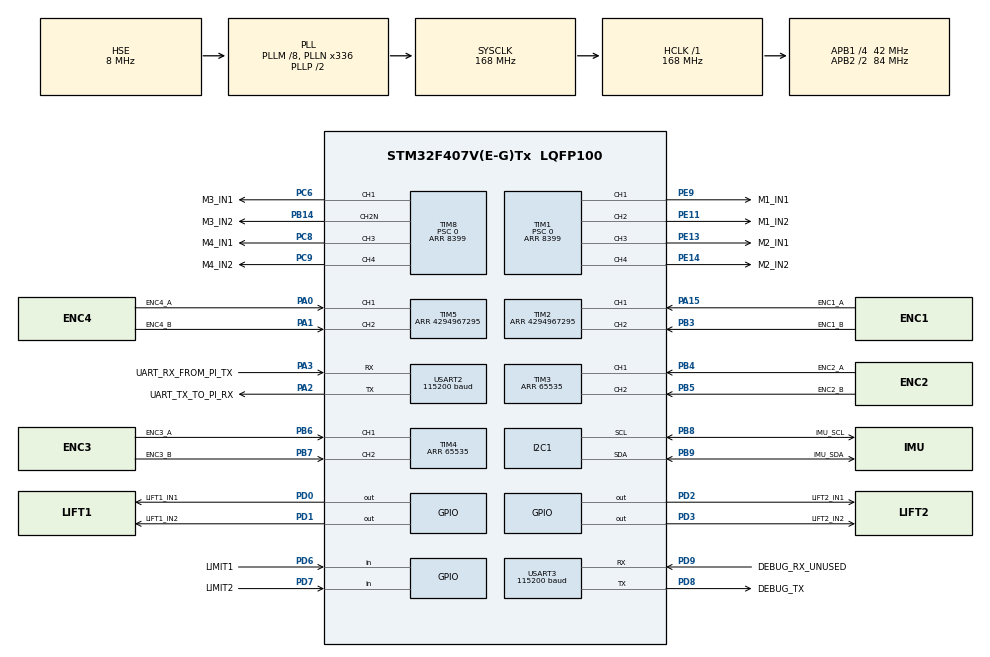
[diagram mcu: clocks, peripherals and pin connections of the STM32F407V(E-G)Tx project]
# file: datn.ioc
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Dma.Request0=USART2_RX
Dma.Request1=USART2_TX
Dma.USART2_RX.0.Direction=DMA_PERIPH_TO_MEMORY
Dma.USART2_RX.0.FIFOMode=DMA_FIFOMODE_DISABLE
Dma.USART2_RX.0.Instance=DMA1_Stream5
Dma.USART2_RX.0.MemDataAlignment=DMA_MDATAALIGN_BYTE
Dma.USART2_RX.0.MemInc=DMA_MINC_ENABLE
Dma.USART2_RX.0.Mode=DMA_CIRCULAR
Dma.USART2_RX.0.PeriphDataAlignment=DMA_PDATAALIGN_BYTE
Dma.USART2_RX.0.PeriphInc=DMA_PINC_DISABLE
Dma.USART2_RX.0.Priority=DMA_PRIORITY_LOW
Dma.USART2_TX.1.Direction=DMA_MEMORY_TO_PERIPH
Dma.USART2_TX.1.FIFOMode=DMA_FIFOMODE_DISABLE
Dma.USART2_TX.1.Instance=DMA1_Stream6
Dma.USART2_TX.1.MemDataAlignment=DMA_MDATAALIGN_BYTE
Dma.USART2_TX.1.MemInc=DMA_MINC_ENABLE
Dma.USART2_TX.1.Mode=DMA_NORMAL
Dma.USART2_TX.1.PeriphDataAlignment=DMA_PDATAALIGN_BYTE
Dma.USART2_TX.1.PeriphInc=DMA_PINC_DISABLE
Dma.USART2_TX.1.Priority=DMA_PRIORITY_LOW
I2C1.I2C_Mode=I2C_Fast
Mcu.Family=STM32F4
Mcu.Name=STM32F407V(E-G)Tx
Mcu.Package=LQFP100
NVIC.DMA1_Stream5_IRQn=true\:0\:0\:false\:false\:true\:false\:true\:true
NVIC.DMA1_Stream6_IRQn=true\:0\:0\:false\:false\:true\:false\:true\:true
NVIC.PriorityGroup=NVIC_PRIORITYGROUP_4
NVIC.TIM6_DAC_IRQn=true\:0\:0\:false\:false\:true\:true\:true\:true
NVIC.USART2_IRQn=true\:0\:0\:false\:false\:true\:true\:true\:true
PA0-WKUP.GPIO_Label=ENC4_A
PA0-WKUP.GPIO_PuPd=GPIO_PULLUP
PA0-WKUP.Signal=S_TIM5_CH1
PA1.GPIO_Label=ENC4_B
PA1.GPIO_PuPd=GPIO_PULLUP
PA1.Signal=S_TIM5_CH2
PA13.Mode=Serial_Wire
PA13.Signal=SYS_JTMS-SWDIO
PA14.Mode=Serial_Wire
PA14.Signal=SYS_JTCK-SWCLK
PA15.GPIO_Label=ENC1_A
PA15.GPIO_PuPd=GPIO_PULLUP
PA15.Signal=S_TIM2_CH1_ETR
PA2.GPIO_Label=UART_TX_TO_PI_RX
PA2.Mode=Asynchronous
PA2.Signal=USART2_TX
PA3.GPIO_Label=UART_RX_FROM_PI_TX
PA3.Mode=Asynchronous
PA3.Signal=USART2_RX
PB14.GPIO_Label=M3_IN2
PB14.Mode=PWM Generation2 CH2N
PB14.Signal=TIM8_CH2N
PB3.GPIO_Label=ENC1_B
PB3.GPIO_PuPd=GPIO_PULLUP
PB3.Signal=S_TIM2_CH2
PB4.GPIO_Label=ENC2_A
PB4.GPIO_PuPd=GPIO_PULLUP
PB4.Signal=S_TIM3_CH1
PB5.GPIO_Label=ENC2_B
PB5.GPIO_PuPd=GPIO_PULLUP
PB5.Signal=S_TIM3_CH2
PB6.GPIO_Label=ENC3_A
PB6.GPIO_PuPd=GPIO_PULLUP
PB6.Signal=S_TIM4_CH1
PB7.GPIO_Label=ENC3_B
PB7.GPIO_PuPd=GPIO_PULLUP
PB7.Signal=S_TIM4_CH2
PB8.GPIO_Label=IMU_SCL
PB8.GPIO_PuPd=GPIO_PULLUP
PB8.Mode=I2C
PB8.Signal=I2C1_SCL
PB9.GPIO_Label=IMU_SDA
PB9.GPIO_PuPd=GPIO_PULLUP
PB9.Mode=I2C
PB9.Signal=I2C1_SDA
PC6.GPIO_Label=M3_IN1
PC6.Signal=S_TIM8_CH1
PC8.GPIO_Label=M4_IN1
PC8.Signal=S_TIM8_CH3
PC9.GPIO_Label=M4_IN2
PC9.Signal=S_TIM8_CH4
PD0.GPIO_Label=LIFT1_IN1
PD0.Signal=GPIO_Output
PD1.GPIO_Label=LIFT1_IN2
PD1.Signal=GPIO_Output
PD2.GPIO_Label=LIFT2_IN1
PD2.Signal=GPIO_Output
PD3.GPIO_Label=LIFT2_IN2
PD3.Signal=GPIO_Output
PD6.GPIO_Label=LIMIT1
PD6.GPIO_PuPd=GPIO_PULLUP
PD6.Signal=GPIO_Input
PD7.GPIO_Label=LIMIT2
PD7.GPIO_PuPd=GPIO_PULLUP
PD7.Signal=GPIO_Input
PD8.GPIO_Label=DEBUG_TX
PD8.Mode=Asynchronous
PD8.Signal=USART3_TX
PD9.GPIO_Label=DEBUG_RX_UNUSED
PD9.Mode=Asynchronous
PD9.Signal=USART3_RX
PE11.GPIO_Label=M1_IN2
PE11.Signal=S_TIM1_CH2
PE13.GPIO_Label=M2_IN1
PE13.Signal=S_TIM1_CH3
PE14.GPIO_Label=M2_IN2
PE14.Signal=S_TIM1_CH4
PE9.GPIO_Label=M1_IN1
PE9.Signal=S_TIM1_CH1
PH0-OSC_IN.Mode=HSE-External-Oscillator
PH0-OSC_IN.Signal=RCC_OSC_IN
PH1-OSC_OUT.Mode=HSE-External-Oscillator
PH1-OSC_OUT.Signal=RCC_OSC_OUT
ProjectManager.HeapSize=0x200
ProjectManager.StackSize=0x400
ProjectManager.TargetToolchain=STM32CubeIDE
RCC.48MHZClocksFreq_Value=48000000
RCC.AHBFreq_Value=168000000
RCC.APB1CLKDivider=RCC_HCLK_DIV4
RCC.APB1Freq_Value=42000000
RCC.APB1TimFreq_Value=84000000
RCC.APB2CLKDivider=RCC_HCLK_DIV2
RCC.APB2Freq_Value=84000000
RCC.APB2TimFreq_Value=168000000
RCC.CortexFreq_Value=168000000
RCC.HCLKFreq_Value=168000000
RCC.HSE_VALUE=8000000
RCC.HSI_VALUE=16000000
RCC.LSE_VALUE=32768
RCC.PLLM=8
RCC.PLLN=336
RCC.PLLQ=7
RCC.PLLSourceVirtual=RCC_PLLSOURCE_HSE
RCC.SYSCLKFreq_VALUE=168000000
RCC.SYSCLKSource=RCC_SYSCLKSOURCE_PLLCLK
RCC.VCOOutputFreq_Value=336000000
SH.S_TIM1_CH1.0=TIM1_CH1,PWM Generation1 CH1
SH.S_TIM1_CH2.0=TIM1_CH2,PWM Generation2 CH2
SH.S_TIM1_CH3.0=TIM1_CH3,PWM Generation3 CH3
SH.S_TIM1_CH4.0=TIM1_CH4,PWM Generation4 CH4
SH.S_TIM2_CH1_ETR.0=TIM2_CH1,Encoder_Interface
SH.S_TIM2_CH2.0=TIM2_CH2,Encoder_Interface
SH.S_TIM3_CH1.0=TIM3_CH1,Encoder_Interface
SH.S_TIM3_CH2.0=TIM3_CH2,Encoder_Interface
SH.S_TIM4_CH1.0=TIM4_CH1,Encoder_Interface
SH.S_TIM4_CH2.0=TIM4_CH2,Encoder_Interface
SH.S_TIM5_CH1.0=TIM5_CH1,Encoder_Interface
SH.S_TIM5_CH2.0=TIM5_CH2,Encoder_Interface
SH.S_TIM8_CH1.0=TIM8_CH1,PWM Generation1 CH1
SH.S_TIM8_CH3.0=TIM8_CH3,PWM Generation3 CH3
SH.S_TIM8_CH4.0=TIM8_CH4,PWM Generation4 CH4
TIM1.Channel-PWM\ Generation1\ CH1=TIM_CHANNEL_1
TIM1.Channel-PWM\ Generation2\ CH2=TIM_CHANNEL_2
TIM1.Channel-PWM\ Generation3\ CH3=TIM_CHANNEL_3
TIM1.Channel-PWM\ Generation4\ CH4=TIM_CHANNEL_4
TIM1.Period=8399
TIM1.Prescaler=0
TIM2.EncoderMode=TIM_ENCODERMODE_TI12
TIM2.IC1Filter=8
TIM2.IC2Filter=8
TIM2.Period=4294967295
TIM3.EncoderMode=TIM_ENCODERMODE_TI12
TIM3.IC1Filter=8
TIM3.IC2Filter=8
TIM3.Period=65535
TIM4.EncoderMode=TIM_ENCODERMODE_TI12
TIM4.IC1Filter=8
TIM4.IC2Filter=8
TIM4.Period=65535
TIM5.EncoderMode=TIM_ENCODERMODE_TI12
TIM5.IC1Filter=8
TIM5.IC2Filter=8
TIM5.Period=4294967295
TIM6.Period=999
TIM6.Prescaler=83
TIM8.Channel-PWM\ Generation1\ CH1=TIM_CHANNEL_1
TIM8.Channel-PWM\ Generation2\ CH2N=TIM_CHANNEL_2
TIM8.Channel-PWM\ Generation3\ CH3=TIM_CHANNEL_3
TIM8.Channel-PWM\ Generation4\ CH4=TIM_CHANNEL_4
TIM8.Period=8399
TIM8.Prescaler=0
USART2.BaudRate=115200
USART2.VirtualMode=VM_ASYNC
USART3.BaudRate=115200
USART3.Mode=MODE_TX
USART3.VirtualMode=VM_ASYNC
VP_TIM1_VS_ClockSourceINT.Mode=Internal
VP_TIM6_VS_ClockSourceINT.Mode=Enable_Timer
VP_TIM8_VS_ClockSourceINT.Mode=Internal
board=custom

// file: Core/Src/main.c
/* USER CODE BEGIN Header */
/**
  ******************************************************************************
  * @file           : main.c
  * @brief          : Main program body
  ******************************************************************************
  * @attention
  *
  * Copyright (c) 2026 STMicroelectronics.
  * All rights reserved.
  *
  * This software is licensed under terms that can be found in the LICENSE file
  * in the root directory of this software component.
  * If no LICENSE file comes with this software, it is provided AS-IS.
  *
  ******************************************************************************
  */
/* USER CODE END Header */
#include "main.h"
#include "dma.h"
#include "i2c.h"
#include "tim.h"
#include "usart.h"
#include "gpio.h"

/* USER CODE BEGIN Includes */
#include <stdio.h>
#include <math.h>
/* USER CODE END Includes */

/* USER CODE BEGIN PTD */
/* Mot motor = 1 timer PWM + 2 kenh (IN1, IN2 cua DRV8871) */
typedef struct
{
  TIM_HandleTypeDef *htim;
  uint32_t ch_in1;
  uint32_t ch_in2;
} Motor_t;
/* USER CODE END PTD */

/* USER CODE BEGIN PD */
#define MOTOR_COUNT        4U
#define TEST_DUTY_PERCENT  100U    /* duty khi test */
#define TEST_DRIVE         1       /* 1: lap tren xe, ca xe chay toi / lui (uu tien hon TEST_STREAM) */
#define WHEEL_DIAMETER_MM  80.0f   /* duong kinh banh xe (mm) - DO LAI cho dung banh that */
#define DRIVE_SPEED_MPM    3.0f    /* toc do toi da khi chay (m/phut); 1 m/phut qua cham, banh giat */
#define DRIVE_MOVE_MM      200.0f  /* chay toi quang nay, nghi, roi lui lai dung quang nay (mm) */
#define DRIVE_ACCEL_S      1.0f    /* thoi gian tang toc 0 -> DRIVE_SPEED_MPM (s), giam toc cung vay */
#define DRIVE_PAUSE_MS     1500U   /* nghi giua luot toi va luot lui */
#define SPEED_DT_MS        10U     /* chu ky vong PI toc do */
#define SPEED_KP           1.0f    /* duty / (count/s) */
#define SPEED_KI           10.0f   /* duty / count */
#define POS_KP             4.0f    /* bam vi tri: (count/s) bu them / count sai lech */
#define POS_CORR_MAX       0.5f    /* toc do bu toi da = POS_CORR_MAX * toc do toi da */
#define POS_TOL_MM         2.0f    /* sai so vi tri chap nhan khi dung (mm) */
#define DRIVE_START_MS     3000U   /* cho sau khi reset de dat xe xuong */
#define FRICTION_TEST      0       /* 1: KE XE LEN, do duty toi thieu de moi banh bat dau quay / con quay */
#define HEADING_HOLD       0       /* 1: dung gyro Z cua MPU6050 giu xe di thang khi chay DRIVE_MOVE_MM */
#define IMU_ADDR           (0x68U << 1) /* AD0 = GND; AD0 = 3V3 thi 0x69 */
#define IMU_YAW_SIGN       1       /* +1: module nam ngua (chip quay len) -> xe quay trai (CCW) yaw tang; up nguoc thi -1 */
#define IMU_PERIOD_MS      5U      /* doc gyro 200 Hz */
#define IMU_CALIB_MS       1000U   /* thoi gian xe dung yen de do bias gyro */
#define TRACK_MM           200.0f  /* khoang cach tam banh trai - phai (mm) - DO LAI tren xe */
#define WHEELBASE_MM       200.0f  /* khoang cach tam banh truoc - sau (mm) - DO LAI tren xe */
#define HEAD_GAIN          1.5f    /* 1.0 = bu dung bang hinh hoc, tang neu san tron xe van lech */
#define HEAD_OFF_MAX_MM    20.0f   /* do lech quang duong trai/phai toi da khi bu huong */
#define WHEEL_CHECK        0       /* 1: KE XE LEN, quay tung banh M1..M4 theo chieu "tien" de kiem tra wheel_dir */
#define TEST_STREAM        1       /* 1: chay cac motor trong STREAM_MASK, gui CSV de ve do thi tren PC (tools/enc_plot.py) */
#define STREAM_MASK        0xFU    /* motor chay cung luc o che do stream: bit0=M1, bit1=M2, bit2=M3, bit3=M4 */
#define STREAM_RUN_MS      5000U   /* thoi gian chay moi chieu o che do stream */
#define TEST_CONTINUOUS    1       /* 1: ca 4 motor chay toi lien tuc de do dien ap, 0: test tung motor */
#define TEST_RUN_MS        2000U   /* thoi gian chay moi chieu */
#define TEST_PAUSE_MS      500U    /* nghi giua 2 chieu de motor dung han */
#if TEST_STREAM
#define PRINT_PERIOD_MS    20U     /* stream CSV 50 Hz */
#else
#define PRINT_PERIOD_MS    200U    /* chu ky in ra USART3 */
#endif
/* USER CODE END PD */

/* USER CODE BEGIN PV */
/* Bang anh xa motor -> timer/kenh, dung thu tu trong bang di day */
static const Motor_t motors[MOTOR_COUNT] =
{
  { &htim1, TIM_CHANNEL_1, TIM_CHANNEL_2 },  /* M1: PE9 / PE11  */
  { &htim1, TIM_CHANNEL_3, TIM_CHANNEL_4 },  /* M2: PE13 / PE14 */
  { &htim8, TIM_CHANNEL_1, TIM_CHANNEL_2 },  /* M3: PC6 / PB14 (CH2N, van dung thanh ghi CCR2) */
  { &htim8, TIM_CHANNEL_3, TIM_CHANNEL_4 },  /* M4: PC8 / PC9   */
};

/* Encoder i dung timer enc_tim[i]: ENC1=TIM2, ENC2=TIM3, ENC3=TIM4, ENC4=TIM5 */
static TIM_HandleTypeDef *const enc_tim[MOTOR_COUNT] = { &htim2, &htim3, &htim4, &htim5 };
static uint32_t enc_last[MOTOR_COUNT];   /* gia tri CNT lan doc truoc */
/* Dau dem cua tung encoder: -1 neu chay toi ma count giam (ENC2 dau day A/B nguoc) */
static const int8_t enc_sign[MOTOR_COUNT] = { 1, -1, 1, 1 };
/* Chieu lap banh tren xe (M1 truoc-trai, M2 sau-trai, M3 sau-phai, M4 truoc-phai):
 * +1 neu motor chay toi lam xe tien, -1 neu nguoc. Kiem tra bang WHEEL_CHECK (day motor moi banh noi khac nhau) */
static const int8_t wheel_dir[MOTOR_COUNT] = { 1, -1, 1, -1 };

/* Bien toan cuc de xem bang Live Expressions */
volatile int32_t enc_count[MOTOR_COUNT]; /* tong count tich luy (co dau) */
volatile int32_t enc_delta[MOTOR_COUNT]; /* so count trong 1 ms gan nhat */
volatile uint8_t test_motor;             /* motor dang test: 1..4, 0 = khong (che do stream: STREAM_MASK) */
volatile int8_t  test_dir;               /* +1 toi, -1 lui, 0 dung */
static uint32_t next_print;              /* tick lan in tiep theo */
#if TEST_DRIVE
volatile float drive_target_cps;         /* toc do dat cho ca xe (count/s), duong = tien */
volatile float wheel_cps[MOTOR_COUNT];   /* toc do do duoc tung banh (count/s) */
volatile uint8_t drive_brake;            /* 1: phanh ca 4 banh (IN1 = IN2 = 1) */
volatile uint8_t drive_mask = 0xFU;      /* banh nao duoc dieu khien: bit0=M1 .. bit3=M4, banh ngoai mask tha troi */
/* Bam vi tri: ca 4 banh bam cung mot quang duong dat drive_ref_pos (count, tinh tu
 * drive_pos0). Banh nao bi hut (ket, chiu tai nang) se duoc day nhanh de duoi kip. */
volatile uint8_t drive_pos_mode;         /* 1: bat vong vi tri */
volatile uint8_t drive_manual;           /* 1: tat vong PI, main tu dat duty (do ma sat) */
volatile int16_t fric_result[MOTOR_COUNT][2][2]; /* [banh][0 tien,1 lui][0 khoi dong,1 duy tri], 0.1 %; -1 = khong quay */
volatile uint8_t fric_done;              /* 1: do xong */
volatile float drive_ref_pos;            /* quang duong dat (count) */
volatile float drive_corr_max;           /* toc do bu toi da (count/s) */
static int32_t drive_pos0[MOTOR_COUNT];  /* enc_count luc bat dau chay */
/* Bu huong: banh trai (M1, M2) bam ref + drive_head_off, banh phai (M3, M4) bam ref - drive_head_off */
volatile float drive_head_off;           /* count */
#endif
/* MPU6050 */
volatile uint8_t imu_ok;                 /* 1: doc duoc MPU6050 */
volatile uint8_t imu_whoami;             /* thanh ghi WHO_AM_I (MPU6050 that = 0x68) */
volatile uint32_t imu_err;               /* so lan doc I2C loi */
volatile float imu_bias;                 /* bias gyro Z (do/s, chua nhan IMU_YAW_SIGN) */
volatile float imu_rate;                 /* toc do quay quanh Z (do/s), duong = quay trai */
volatile float imu_yaw;                  /* goc yaw tich phan (do), 0 = huong luc xuat phat */
static uint32_t imu_last;                /* tick lan doc truoc */
/* USER CODE END PV */

void SystemClock_Config(void);
/* USER CODE BEGIN PFP */
static void Motor_Set(uint8_t m, int32_t duty);
static void Encoder_Update(void);
static void Print_Status(void);
static void Wait_And_Print(uint32_t ms);
#if TEST_DRIVE
static void Drive_Move(float move_mm);
#endif
static uint8_t IMU_Init(void);
static void IMU_Calibrate(uint32_t ms);
static void IMU_Update(void);
/* USER CODE END PFP */

/* USER CODE BEGIN 0 */
/**
  * Dat toc do motor m (0..3).
  * duty > 0: chay toi  -> PWM tren IN1, IN2 = 0
  * duty < 0: chay lui  -> IN1 = 0, PWM tren IN2
  * duty = 0: ca hai = 0 -> DRV8871 o che do tha troi (coast)
  * |duty| toi da = ARR (8399) tuong ung 100 %.
  */
static void Motor_Set(uint8_t m, int32_t duty)
{
  const Motor_t *mt = &motors[m];
  int32_t arr = (int32_t)__HAL_TIM_GET_AUTORELOAD(mt->htim);

  if (duty > arr)  duty = arr;
  if (duty < -arr) duty = -arr;

  if (duty >= 0)
  {
    __HAL_TIM_SET_COMPARE(mt->htim, mt->ch_in1, (uint32_t)duty);
    __HAL_TIM_SET_COMPARE(mt->htim, mt->ch_in2, 0U);
  }
  else
  {
    __HAL_TIM_SET_COMPARE(mt->htim, mt->ch_in1, 0U);
    __HAL_TIM_SET_COMPARE(mt->htim, mt->ch_in2, (uint32_t)(-duty));
  }
}

/**
  * Doc 4 bo dem encoder, tinh so count thay doi tu lan truoc va cong don.
  * Goi trong ngat TIM6 (1 kHz). Phep tru so khong dau roi ep ve so co dau
  * cho ket qua dung ca khi bo dem tran (65535 -> 0 hoac 0 -> 65535).
  */
static void Encoder_Update(void)
{
  for (uint8_t i = 0; i < MOTOR_COUNT; i++)
  {
    uint32_t now = __HAL_TIM_GET_COUNTER(enc_tim[i]);
    int32_t d;

    if (IS_TIM_32B_COUNTER_INSTANCE(enc_tim[i]->Instance))
      d = (int32_t)(now - enc_last[i]);              /* TIM2, TIM5: 32-bit */
    else
      d = (int16_t)(uint16_t)(now - enc_last[i]);    /* TIM3, TIM4: 16-bit */

    d *= enc_sign[i];
#if TEST_DRIVE
    d *= wheel_dir[i];                 /* count duong = xe tien */
#endif

    enc_last[i]  = now;
    enc_delta[i] = d;
    enc_count[i] += d;
  }
}

#if TEST_DRIVE
/**
  * Vong PI toc do cho 4 banh, goi trong ngat TIM6 moi SPEED_DT_MS.
  * Vong ho khong chay cham duoc vi motor can ~10-15 % duty moi thang ma sat,
  * nen dung PI theo encoder. Muc tieu = 0 -> tha troi va xoa tich phan.
  */
static void Speed_Control(void)
{
  static int32_t last[MOTOR_COUNT];
  static float integ[MOTOR_COUNT];
  const float dt = SPEED_DT_MS / 1000.0f;
  const float arr = (float)__HAL_TIM_GET_AUTORELOAD(&htim1);
  const float target = drive_target_cps;
  const uint8_t pos_mode = drive_pos_mode;
  const float ref = drive_ref_pos;

  for (uint8_t m = 0; m < MOTOR_COUNT; m++)
  {
    int32_t now = enc_count[m];
    float meas = (float)(now - last[m]) / dt;
    float tgt = target;
    float err;
    float u;

    last[m] = now;
    wheel_cps[m] = meas;

    if (drive_brake)
    {
      /* DRV8871: IN1 = IN2 = 1 -> ngan mach 2 dau motor, dung nhanh hon tha troi */
      integ[m] = 0.0f;
      __HAL_TIM_SET_COMPARE(motors[m].htim, motors[m].ch_in1, (uint32_t)arr + 1U);
      __HAL_TIM_SET_COMPARE(motors[m].htim, motors[m].ch_in2, (uint32_t)arr + 1U);
      continue;
    }
    if ((!pos_mode && target == 0.0f) || !(drive_mask & (1U << m)))
    {
      integ[m] = 0.0f;
      Motor_Set(m, 0);
      continue;
    }

    if (pos_mode)
    {
      float off = (m < 2U) ? drive_head_off : -drive_head_off;   /* M1, M2 ben trai */
      float c = POS_KP * (ref + off - (float)(now - drive_pos0[m]));
      if (c >  drive_corr_max) c =  drive_corr_max;
      if (c < -drive_corr_max) c = -drive_corr_max;
      tgt += c;
    }
    err = tgt - meas;

    integ[m] += SPEED_KI * err * dt;
    if (integ[m] >  arr) integ[m] =  arr;
    if (integ[m] < -arr) integ[m] = -arr;

    u = SPEED_KP * err + integ[m];
    Motor_Set(m, wheel_dir[m] * (int32_t)u);
  }
}
#endif

/* ---------------- MPU6050 (I2C1: PB8 = SCL, PB9 = SDA) ---------------- */
#define MPU_SMPLRT_DIV   0x19U
#define MPU_CONFIG       0x1AU
#define MPU_GYRO_CONFIG  0x1BU
#define MPU_GYRO_ZOUT_H  0x47U
#define MPU_PWR_MGMT_1   0x6BU
#define MPU_WHO_AM_I     0x75U
#define MPU_GYRO_LSB     65.5f     /* LSB / (do/s) o thang +-500 do/s */

static HAL_StatusTypeDef IMU_Write(uint8_t reg, uint8_t val)
{
  return HAL_I2C_Mem_Write(&hi2c1, IMU_ADDR, reg, I2C_MEMADD_SIZE_8BIT, &val, 1U, 5U);
}

/* Doc gyro Z tho (do/s, chua tru bias). Tra ve 0 neu loi I2C. */
static uint8_t IMU_ReadGz(float *dps)
{
  uint8_t b[2];

  if (HAL_I2C_Mem_Read(&hi2c1, IMU_ADDR, MPU_GYRO_ZOUT_H, I2C_MEMADD_SIZE_8BIT, b, 2U, 2U) != HAL_OK)
  {
    imu_err++;
    return 0U;
  }
  *dps = (float)(int16_t)((b[0] << 8) | b[1]) / MPU_GYRO_LSB;
  return 1U;
}

/* Kiem tra WHO_AM_I roi cau hinh: clock PLL gyro, loc 44 Hz, 200 Hz, +-500 do/s */
static uint8_t IMU_Init(void)
{
  uint8_t id = 0;

  if (HAL_I2C_Mem_Read(&hi2c1, IMU_ADDR, MPU_WHO_AM_I, I2C_MEMADD_SIZE_8BIT, &id, 1U, 10U) != HAL_OK)
    return 0U;
  imu_whoami = id;
  if (IMU_Write(MPU_PWR_MGMT_1, 0x80U) != HAL_OK) return 0U;   /* reset chip */
  HAL_Delay(100);
  if (IMU_Write(MPU_PWR_MGMT_1, 0x01U) != HAL_OK) return 0U;   /* thoat sleep, clock = PLL gyro X */
  if (IMU_Write(MPU_CONFIG, 0x03U) != HAL_OK) return 0U;       /* DLPF 44 Hz */
  if (IMU_Write(MPU_SMPLRT_DIV, 0x04U) != HAL_OK) return 0U;   /* 1 kHz / (1 + 4) = 200 Hz */
  if (IMU_Write(MPU_GYRO_CONFIG, 0x08U) != HAL_OK) return 0U;  /* +-500 do/s */
  HAL_Delay(50);
  return 1U;
}

/* Xe PHAI DUNG YEN: lay trung binh gyro Z lam bias, dat yaw = 0 */
static void IMU_Calibrate(uint32_t ms)
{
  uint32_t t0 = HAL_GetTick();
  float sum = 0.0f, g;
  uint32_t n = 0;

  if (!imu_ok) return;
  while ((HAL_GetTick() - t0) < ms)
  {
    if (IMU_ReadGz(&g)) { sum += g; n++; }
    HAL_Delay(IMU_PERIOD_MS);
  }
  if (n > 0U) imu_bias = sum / (float)n;
  imu_yaw = 0.0f;
  imu_last = HAL_GetTick();
}

/* Goi lien tuc trong vong cho: moi IMU_PERIOD_MS doc gyro, tich phan yaw va
 * tinh do lech quang duong trai/phai de keo xe ve huong ban dau. */
static void IMU_Update(void)
{
  uint32_t now = HAL_GetTick();
  float g;

  if (!imu_ok || (now - imu_last) < IMU_PERIOD_MS) return;
  if (!IMU_ReadGz(&g))
  {
    /* Bus I2C treo (nhieu tu motor): khoi dong lai I2C1 */
    if ((imu_err & 0x0FU) == 0U)
    {
      HAL_I2C_DeInit(&hi2c1);
      HAL_I2C_Init(&hi2c1);
    }
    return;
  }
  imu_rate = IMU_YAW_SIGN * (g - imu_bias);
  imu_yaw += imu_rate * (float)(now - imu_last) / 1000.0f;
  imu_last = now;

#if TEST_DRIVE && HEADING_HOLD
  {
    /* Xe lech trai (yaw > 0) -> banh trai di truoc banh phai mot doan
     * yaw * (TRACK + WHEELBASE) / 2 (dong hoc mecanum) de quay ve */
    const float cnt_per_mm = ENC_CPR / (3.14159f * WHEEL_DIAMETER_MM);
    float off = HEAD_GAIN * imu_yaw * (3.14159f / 180.0f) * (TRACK_MM + WHEELBASE_MM) * 0.5f;

    if (off >  HEAD_OFF_MAX_MM) off =  HEAD_OFF_MAX_MM;
    if (off < -HEAD_OFF_MAX_MM) off = -HEAD_OFF_MAX_MM;
    drive_head_off = drive_pos_mode ? off * cnt_per_mm : 0.0f;
  }
#endif
}

/* In mot dong trang thai ra USART3 (PD8) */
static void Print_Status(void)
{
#if TEST_STREAM
  /* Chup 4 count cung 1 thoi diem (khong bi ngat TIM6 chen giua) */
  int32_t c[MOTOR_COUNT];
  uint32_t t;

  __disable_irq();
  t = HAL_GetTick();
  for (uint8_t i = 0; i < MOTOR_COUNT; i++) c[i] = enc_count[i];
  __enable_irq();

  /* Dong du lieu: D,t_ms,motor,dir,E1,E2,E3,E4 */
  printf("D,%lu,%u,%d,%ld,%ld,%ld,%ld\r\n",
         (unsigned long)t, test_motor, test_dir,
         (long)c[0], (long)c[1], (long)c[2], (long)c[3]);
  {
    /* Dong goc: Y,t_ms,yaw(0.1 do),toc_do_quay(0.1 do/s), 10 Hz */
    static uint8_t k;
    if (imu_ok && ++k >= 5U)
    {
      k = 0;
      printf("Y,%lu,%ld,%ld\r\n", (unsigned long)t,
             (long)(imu_yaw * 10.0f), (long)(imu_rate * 10.0f));
    }
  }
#else
  printf("M%u dir=%+d | E1=%ld E2=%ld E3=%ld E4=%ld\r\n",
         test_motor, test_dir,
         (long)enc_count[0], (long)enc_count[1],
         (long)enc_count[2], (long)enc_count[3]);
#endif
}

/* Cho ms mili-giay, trong luc cho thi in trang thai moi PRINT_PERIOD_MS.
 * next_print giu nguyen giua cac lan goi nen nhip in deu ca khi goi Wait ngan. */
static void Wait_And_Print(uint32_t ms)
{
  uint32_t start = HAL_GetTick();

  while ((HAL_GetTick() - start) < ms)
  {
    IMU_Update();
    if ((int32_t)(HAL_GetTick() - next_print) >= 0)
    {
      next_print += PRINT_PERIOD_MS;
      Print_Status();
    }
  }
}
#if TEST_DRIVE
/**
  * Chay move_mm (am = lui) roi phanh va dung han.
  * Tao quang duong dat drive_ref_pos theo bien dang hinh thang (tang toc
  * DRIVE_ACCEL_S, giam toc v = sqrt(2 a quang_con_lai)); ca 4 banh bam theo
  * no trong Speed_Control nen di cung mot quang duong.
  */
static void Drive_Move(float move_mm)
{
  /* mm -> count, m/phut -> count/s */
  const float cnt_per_mm = ENC_CPR / (3.14159f * WHEEL_DIAMETER_MM);
  const float vmax = DRIVE_SPEED_MPM * 1000.0f / 60.0f * cnt_per_mm;
  const float acc  = vmax / DRIVE_ACCEL_S;
  const float vmin = 0.2f * vmax;          /* duoi muc nay banh de ket */
  const float goal = fabsf(move_mm) * cnt_per_mm;
  const float sgn  = (move_mm >= 0.0f) ? 1.0f : -1.0f;
  const float tol  = POS_TOL_MM * cnt_per_mm;
  float pos = 0.0f;
  float v = 0.0f;
  uint32_t t0;

  __disable_irq();
  for (uint8_t m = 0; m < MOTOR_COUNT; m++) drive_pos0[m] = enc_count[m];
  drive_ref_pos = 0.0f;
  drive_corr_max = POS_CORR_MAX * vmax;
  drive_pos_mode = 1U;
  __enable_irq();

  test_dir = (int8_t)sgn;
  while (pos < goal)
  {
    float vstop = sqrtf(2.0f * acc * (goal - pos));

    v += acc * 0.01f;
    if (v > vmax)  v = vmax;
    if (v > vstop) v = vstop;
    if (v < vmin)  v = vmin;

    pos += v * 0.01f;
    if (pos > goal) pos = goal;
    drive_ref_pos = sgn * pos;
    drive_target_cps = sgn * v;
    Wait_And_Print(10U);
  }
  drive_target_cps = 0.0f;

  /* Cho cac banh tre ve dung vi tri (toi da 1 s) roi phanh */
  t0 = HAL_GetTick();
  while ((HAL_GetTick() - t0) < 1000U)
  {
    uint8_t ok = 1U;
    for (uint8_t m = 0; m < MOTOR_COUNT; m++)
    {
      float off = (m < 2U) ? drive_head_off : -drive_head_off;
      if (fabsf(sgn * goal + off - (float)(enc_count[m] - drive_pos0[m])) > tol) ok = 0U;
    }
    if (ok) break;
    Wait_And_Print(10U);
  }
  drive_pos_mode = 0U;
  drive_brake = 1U;
  Wait_And_Print(500U);
  drive_brake = 0U;                        /* het phanh -> tha troi, khong ton dien */
  test_dir = 0;
}
#endif
/* USER CODE END 0 */

int main(void)
{

  /* MCU Configuration--------------------------------------------------------*/

  /* Reset of all peripherals, Initializes the Flash interface and the Systick. */
  HAL_Init();

  /* Configure the system clock */
  SystemClock_Config();

  /* Initialize all configured peripherals */
  MX_GPIO_Init();
  MX_DMA_Init();
  MX_TIM1_Init();
  MX_TIM2_Init();
  MX_TIM3_Init();
  MX_TIM4_Init();
  MX_TIM5_Init();
  MX_TIM6_Init();
  MX_TIM8_Init();
  MX_USART2_UART_Init();
  MX_USART3_UART_Init();
  MX_I2C1_Init();
  /* USER CODE BEGIN 2 */
  /* Tat bo dem cua printf: moi lan printf gui ngay ra UART */
  setvbuf(stdout, NULL, _IONBF, 0);

  /* --- PWM: 8 kenh, duty ban dau = 0 (Pulse = 0 trong MX_TIMx_Init) --- */
  HAL_TIM_PWM_Start(&htim1, TIM_CHANNEL_1);
  HAL_TIM_PWM_Start(&htim1, TIM_CHANNEL_2);
  HAL_TIM_PWM_Start(&htim1, TIM_CHANNEL_3);
  HAL_TIM_PWM_Start(&htim1, TIM_CHANNEL_4);
  HAL_TIM_PWM_Start(&htim8, TIM_CHANNEL_1);
  HAL_TIMEx_PWMN_Start(&htim8, TIM_CHANNEL_2);  /* M3_IN2 o PB14 la kenh bu CH2N */
  HAL_TIM_PWM_Start(&htim8, TIM_CHANNEL_3);
  HAL_TIM_PWM_Start(&htim8, TIM_CHANNEL_4);

  /* --- Encoder: dem ca 2 kenh A/B, x4 --- */
  HAL_TIM_Encoder_Start(&htim2, TIM_CHANNEL_ALL);
  HAL_TIM_Encoder_Start(&htim3, TIM_CHANNEL_ALL);
  HAL_TIM_Encoder_Start(&htim4, TIM_CHANNEL_ALL);
  /* LUU Y TIM5 / ENC4_A = PA0: chan nay noi voi nut USER B1 tren board.
   * Kiem tra schematic MB997: neu PA0 co tu chong doi thi phai thao tu,
   * neu khong encoder 4 se dem sai. Khong nhan B1 khi dang chay. */
  HAL_TIM_Encoder_Start(&htim5, TIM_CHANNEL_ALL);

  for (uint8_t i = 0; i < MOTOR_COUNT; i++)
  {
    enc_last[i] = __HAL_TIM_GET_COUNTER(enc_tim[i]);
  }

  /* --- TIM6: ngat 1 kHz, goi Encoder_Update() --- */
  HAL_TIM_Base_Start_IT(&htim6);

  printf("\r\n=== DATN test buoc 1: PWM + encoder, ENC_CPR=%d ===\r\n", ENC_CPR);
#if HEADING_HOLD
  imu_ok = IMU_Init();
  printf("MPU6050: %s, WHO_AM_I=0x%02X\r\n", imu_ok ? "OK" : "KHONG THAY (kiem tra day PB8/PB9)", imu_whoami);
  IMU_Calibrate(IMU_CALIB_MS);
#else
  (void)IMU_Init;                          /* giu code MPU6050 cho luc bat lai */
  printf("MPU6050: tat (HEADING_HOLD = 0)\r\n");
#endif
  next_print = HAL_GetTick();
  /* USER CODE END 2 */

  /* Infinite loop */
  while (1)
  {

    /* USER CODE BEGIN 3 */
    const int32_t duty = (int32_t)(__HAL_TIM_GET_AUTORELOAD(&htim1) * TEST_DUTY_PERCENT / 100U);

#if TEST_DRIVE && FRICTION_TEST
    /* Voi tung banh, moi chieu: tang duty 0.5 %/50 ms (vong ho) toi khi banh
     * quay -> duty khoi dong; roi giam dan toi khi banh dung -> duty duy tri.
     * In ket qua dang: F,banh,chieu,khoi_dong_x10,duy_tri_x10 (don vi 0.1 %). */
    {
      static uint8_t done;
      const int32_t arr = (int32_t)__HAL_TIM_GET_AUTORELOAD(&htim1);

      if (done)
      {
        HAL_Delay(1000);
        continue;
      }
      drive_manual = 1U;
      HAL_Delay(DRIVE_START_MS);
      printf("=== Do ma sat: F,banh,chieu,khoi_dong(0.1%%),duy_tri(0.1%%) ===\r\n");

      for (uint8_t m = 0; m < MOTOR_COUNT; m++)
      {
        for (int8_t dir = 1; dir >= -1; dir -= 2)
        {
          int32_t pm = 5;              /* duty theo 0.1 % */
          int32_t brk = -1, keep = -1;
          uint8_t moving = 0;
          int32_t prev = enc_count[m];

          for (; pm <= 600 && moving < 2U; pm += 5)
          {
            int32_t now;
            Motor_Set(m, wheel_dir[m] * dir * arr * pm / 1000);
            HAL_Delay(50);
            now = enc_count[m];
            moving = (dir * (now - prev) > 10) ? (uint8_t)(moving + 1U) : 0U;
            prev = now;
          }
          if (moving >= 2U)
          {
            brk = pm - 5;
            for (pm = brk; pm > 0; pm -= 5)
            {
              int32_t now;
              Motor_Set(m, wheel_dir[m] * dir * arr * pm / 1000);
              HAL_Delay(50);
              now = enc_count[m];
              if (dir * (now - prev) < 3) break;
              prev = now;
            }
            keep = pm;
          }
          Motor_Set(m, 0);
          fric_result[m][dir > 0 ? 0 : 1][0] = (int16_t)brk;
          fric_result[m][dir > 0 ? 0 : 1][1] = (int16_t)keep;
          printf("F,M%u,%+d,%ld,%ld\r\n", m + 1U, dir, (long)brk, (long)keep);
          HAL_Delay(800);
        }
      }
      printf("=== Xong ===\r\n");
      fric_done = 1U;
      drive_manual = 0U;
      done = 1U;
    }
    continue;
#endif

#if TEST_DRIVE && WHEEL_CHECK
    /* Quay lan luot M1, M2, M3, M4 theo chieu "xe tien" 2 s, nghi 2 s.
     * Banh nao lan nguoc ve phia duoi xe -> doi dau banh do trong wheel_dir. */
    {
      const float cps = DRIVE_SPEED_MPM * 1000.0f / 60.0f * ENC_CPR / (3.14159f * WHEEL_DIAMETER_MM);

      for (uint8_t m = 0; m < MOTOR_COUNT; m++)
      {
        test_motor = m + 1U;
        test_dir = 1;
        drive_mask = (uint8_t)(1U << m);
        drive_target_cps = cps;
        Wait_And_Print(2000U);
        drive_target_cps = 0.0f;
        test_dir = 0;
        Wait_And_Print(2000U);
      }
      drive_mask = 0xFU;
    }
    continue;
#endif

#if TEST_DRIVE
    /* Chay toi DRIVE_MOVE_MM, nghi, lui ve cho cu, nghi, lap lai mai */
    {
      static uint8_t started;

      test_motor = 0xFU;
      if (!started)
      {
        Wait_And_Print(DRIVE_START_MS);
        IMU_Calibrate(IMU_CALIB_MS);           /* xe da dat xuong, dung yen -> do bias, yaw = 0 */
        started = 1U;
      }
      Drive_Move(DRIVE_MOVE_MM);
      Wait_And_Print(DRIVE_PAUSE_MS);
      Drive_Move(-DRIVE_MOVE_MM);
      Wait_And_Print(DRIVE_PAUSE_MS);
    }
    continue;
#endif

#if TEST_STREAM
    /* Chay cung luc cac motor trong STREAM_MASK (cung duty -> de so sanh):
     * tang toc 1 s, toi STREAM_RUN_MS, dung 1 s, lui STREAM_RUN_MS, dung 1 s.
     * In du lieu ca luc tang toc. */
    test_motor = STREAM_MASK;
    for (int8_t dir = 1; dir >= -1; dir -= 2)
    {
      test_dir = dir;
      for (int32_t step = 1; step <= 100; step++)
      {
        for (uint8_t m = 0; m < MOTOR_COUNT; m++)
          if (STREAM_MASK & (1U << m)) Motor_Set(m, dir * duty * step / 100);
        Wait_And_Print(10U);
      }
      Wait_And_Print(STREAM_RUN_MS);
      for (uint8_t m = 0; m < MOTOR_COUNT; m++)
        if (STREAM_MASK & (1U << m)) Motor_Set(m, 0);
      test_dir = 0;
      Wait_And_Print(1000U);
    }
    continue;
#endif

#if TEST_CONTINUOUS
    /* Chay tung motor mot: tang duty tu tu trong 1 s (tranh dong khoi dong lon
     * lam sut nguon), giu 3 s, roi dung 1 s truoc khi sang motor ke tiep */
    for (uint8_t m = 0; m < MOTOR_COUNT; m++)
    {
      test_motor = m + 1U;
      test_dir = 1;
      for (int32_t step = 1; step <= 100; step++)
      {
        Motor_Set(m, duty * step / 100);
        HAL_Delay(10);
      }
      Wait_And_Print(3000U);
      Motor_Set(m, 0);
      test_dir = 0;
      Wait_And_Print(1000U);
    }
    continue;
#endif

    for (uint8_t m = 0; m < MOTOR_COUNT; m++)
    {
      int32_t c0, c_fwd, c_rev;

      test_motor = m + 1U;

      /* Chay toi 2 s */
      c0 = enc_count[m];
      test_dir = 1;
      Motor_Set(m, duty);
      Wait_And_Print(TEST_RUN_MS);
      Motor_Set(m, 0);
      test_dir = 0;
      Wait_And_Print(TEST_PAUSE_MS);
      c_fwd = enc_count[m] - c0;

      /* Chay lui 2 s */
      c0 = enc_count[m];
      test_dir = -1;
      Motor_Set(m, -duty);
      Wait_And_Print(TEST_RUN_MS);
      Motor_Set(m, 0);
      test_dir = 0;
      Wait_And_Print(TEST_PAUSE_MS);
      c_rev = enc_count[m] - c0;

      /* Tong ket: so vong banh = count / ENC_CPR (in dang phan nghin de khong can printf float) */
      printf(">> M%u: toi %ld count (%ld mvong), lui %ld count (%ld mvong)\r\n",
             m + 1U,
             (long)c_fwd, (long)(c_fwd * 1000 / ENC_CPR),
             (long)c_rev, (long)(c_rev * 1000 / ENC_CPR));
    }

    test_motor = 0;
    printf("=== Xong 1 chu ky, lap lai sau 3 s ===\r\n");
    Wait_And_Print(3000U);
  }
  /* USER CODE END 3 */
}

void SystemClock_Config(void)
{
  RCC_OscInitTypeDef RCC_OscInitStruct = {0};
  RCC_ClkInitTypeDef RCC_ClkInitStruct = {0};

  /** Configure the main internal regulator output voltage
  */
  __HAL_RCC_PWR_CLK_ENABLE();
  __HAL_PWR_VOLTAGESCALING_CONFIG(PWR_REGULATOR_VOLTAGE_SCALE1);

  /** Initializes the RCC Oscillators according to the specified parameters
  * in the RCC_OscInitTypeDef structure.
  */
  RCC_OscInitStruct.OscillatorType = RCC_OSCILLATORTYPE_HSE;
  RCC_OscInitStruct.HSEState = RCC_HSE_ON;
  RCC_OscInitStruct.PLL.PLLState = RCC_PLL_ON;
  RCC_OscInitStruct.PLL.PLLSource = RCC_PLLSOURCE_HSE;
  RCC_OscInitStruct.PLL.PLLM = 8;
  RCC_OscInitStruct.PLL.PLLN = 336;
  RCC_OscInitStruct.PLL.PLLP = RCC_PLLP_DIV2;
  RCC_OscInitStruct.PLL.PLLQ = 7;
  if (HAL_RCC_OscConfig(&RCC_OscInitStruct) != HAL_OK)
  {
    Error_Handler();
  }

  /** Initializes the CPU, AHB and APB buses clocks
  */
  RCC_ClkInitStruct.ClockType = RCC_CLOCKTYPE_HCLK|RCC_CLOCKTYPE_SYSCLK
                              |RCC_CLOCKTYPE_PCLK1|RCC_CLOCKTYPE_PCLK2;
  RCC_ClkInitStruct.SYSCLKSource = RCC_SYSCLKSOURCE_PLLCLK;
  RCC_ClkInitStruct.AHBCLKDivider = RCC_SYSCLK_DIV1;
  RCC_ClkInitStruct.APB1CLKDivider = RCC_HCLK_DIV4;
  RCC_ClkInitStruct.APB2CLKDivider = RCC_HCLK_DIV2;

  if (HAL_RCC_ClockConfig(&RCC_ClkInitStruct, FLASH_LATENCY_5) != HAL_OK)
  {
    Error_Handler();
  }
}

/* USER CODE BEGIN 4 */
/* HAL goi ham nay khi bat ky timer nao tran (update event). Chi xu ly TIM6. */
void HAL_TIM_PeriodElapsedCallback(TIM_HandleTypeDef *htim)
{
  if (htim->Instance == TIM6)
  {
    Encoder_Update();
#if TEST_DRIVE
    static uint8_t div;
    if (++div >= SPEED_DT_MS)
    {
      div = 0;
      if (!drive_manual) Speed_Control();
    }
#endif
  }
}

/* Chuyen printf sang USART3 (PD8 -> RX cua mach USB-UART).
 * Ghi de ham _write weak trong syscalls.c. */
int _write(int file, char *ptr, int len)
{
  (void)file;
  HAL_UART_Transmit(&huart3, (uint8_t *)ptr, (uint16_t)len, HAL_MAX_DELAY);
  return len;
}
/* USER CODE END 4 */

void Error_Handler(void)
{
  __disable_irq();
  while (1)
  {
  }
}
